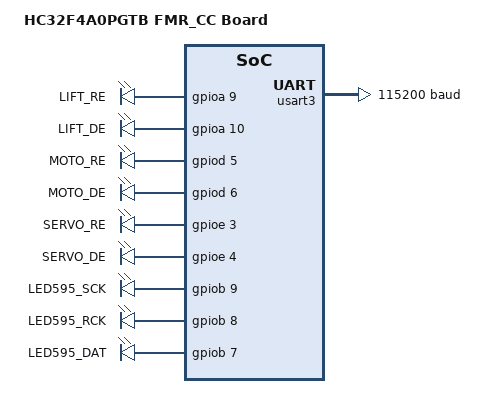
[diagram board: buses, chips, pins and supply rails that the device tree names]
/*
 * SPDX-License-Identifier: Apache-2.0
 *
 * HC32F4A0PGTB FMR_CC Control Board
 *
 * Hardware map (from FMR_CC src/io.c):
 *   USART1 IMU    : PD10(TX) PD11(RX)
 *   USART2 WBUS   : PD9(TX)  PD8(RX)   100k 8E2 inverted SBUS
 *   USART3 Debug  : PE15(TX) PE14(RX)  console
 *   USART5 Lift485: PA11(TX) PA8(RX)   RE=PA9  DE=PA10
 *   USART6 Motor  : PD7(TX)  PD4(RX)   RE=PD5  DE=PD6
 *   USART7 Servo  : PE5(TX)  PE2(RX)   RE=PE3  DE=PE4
 *   595 LED shift : SCK=PB9  RCK=PB8   DAT=PB7
 *   Battery ADC   : PA0 (ADC1 CH0)
 *   USB HS        : VBUS=PB13 DM=PB14 DP=PB15
 */

/dts-v1/;
#include <arm/hdsc/hc32f4a0.dtsi>
#include <zephyr/dt-bindings/input/input-event-codes.h>
#include <zephyr/dt-bindings/pinctrl/hc32-pinctrl.h>

/ {
	model = "HC32F4A0PGTB FMR_CC Board";
	compatible = "hdsc,hc32f4a0pgtb";

	chosen {
		zephyr,console = &usart3;
		zephyr,shell-uart = &usart3;
		zephyr,sram = &sram0;
		zephyr,flash = &flash0;
	};

	aliases {
		watchdog0 = &wdt0;
		watchdog1 = &swdt0;
	};

	/* RS485 direction-control GPIOs (used by the app via gpio-leds-like
	 * nodes or directly through DT_NODELABEL/GPIO_DT_SPEC_GET).
	 */
	rs485_ctrl: rs485-ctrl {
		compatible = "gpio-leds";

		lift_re: lift_re {
			gpios = <&gpioa 9 GPIO_ACTIVE_HIGH>;
			label = "LIFT_RE";
		};
		lift_de: lift_de {
			gpios = <&gpioa 10 GPIO_ACTIVE_HIGH>;
			label = "LIFT_DE";
		};
		moto_re: moto_re {
			gpios = <&gpiod 5 GPIO_ACTIVE_HIGH>;
			label = "MOTO_RE";
		};
		moto_de: moto_de {
			gpios = <&gpiod 6 GPIO_ACTIVE_HIGH>;
			label = "MOTO_DE";
		};
		servo_re: servo_re {
			gpios = <&gpioe 3 GPIO_ACTIVE_HIGH>;
			label = "SERVO_RE";
		};
		servo_de: servo_de {
			gpios = <&gpioe 4 GPIO_ACTIVE_HIGH>;
			label = "SERVO_DE";
		};
	};

	/* 74HC595 LED shift-register: SCK=PB9, RCK=PB8, DAT=PB7 */
	led_595: led-595 {
		compatible = "gpio-leds";

		led_sck: led_sck {
			gpios = <&gpiob 9 GPIO_ACTIVE_HIGH>;
			label = "LED595_SCK";
		};
		led_rck: led_rck {
			gpios = <&gpiob 8 GPIO_ACTIVE_HIGH>;
			label = "LED595_RCK";
		};
		led_dat: led_dat {
			gpios = <&gpiob 7 GPIO_ACTIVE_HIGH>;
			label = "LED595_DAT";
		};
	};
};

&pinctrl {
	/* USART3 - Debug console: PE15 TX, PE14 RX */
	usart3_default: usart3_default {
		group1 {
			pinmux = <HC32_PINMUX(HC32_PORT_E, 15, HC32_FUNC_USART3_TX)>,
				 <HC32_PINMUX(HC32_PORT_E, 14, HC32_FUNC_USART3_RX)>;
			bias-pull-up;
		};
	};

	/* USART1 - IMU: PD10 TX, PD11 RX */
	usart1_default: usart1_default {
		group1 {
			pinmux = <HC32_PINMUX(HC32_PORT_D, 10, HC32_FUNC_USART1_TX)>,
				 <HC32_PINMUX(HC32_PORT_D, 11, HC32_FUNC_USART1_RX)>;
			bias-pull-up;
		};
	};

	/* USART2 - WBUS: PD9 TX, PD8 RX */
	usart2_default: usart2_default {
		group1 {
			pinmux = <HC32_PINMUX(HC32_PORT_D, 9, HC32_FUNC_USART2_TX)>,
				 <HC32_PINMUX(HC32_PORT_D, 8, HC32_FUNC_USART2_RX)>;
			bias-pull-up;
		};
	};

	/* USART5 - 485 Lift: PA11 TX, PA8 RX */
	usart5_default: usart5_default {
		group1 {
			pinmux = <HC32_PINMUX(HC32_PORT_A, 11, HC32_FUNC_USART5_TX)>,
				 <HC32_PINMUX(HC32_PORT_A, 8,  HC32_FUNC_USART5_RX)>;
			bias-pull-up;
		};
	};

	/* USART6 - Motor: PD7 TX, PD4 RX */
	usart6_default: usart6_default {
		group1 {
			pinmux = <HC32_PINMUX(HC32_PORT_D, 7, HC32_FUNC_USART6_TX)>,
				 <HC32_PINMUX(HC32_PORT_D, 4, HC32_FUNC_USART6_RX)>;
			bias-pull-up;
		};
	};

	/* USART7 - Servo: PE5 TX, PE2 RX */
	usart7_default: usart7_default {
		group1 {
			pinmux = <HC32_PINMUX(HC32_PORT_E, 5, HC32_FUNC_USART7_TX)>,
				 <HC32_PINMUX(HC32_PORT_E, 2, HC32_FUNC_USART7_RX)>;
			bias-pull-up;
		};
	};
};

&gpioa { status = "okay"; };
&gpiob { status = "okay"; };
&gpiod { status = "okay"; };
&gpioe { status = "okay"; };

&usart3 {
	current-speed = <115200>;
	pinctrl-0 = <&usart3_default>;
	pinctrl-names = "default";
	status = "okay";
};
